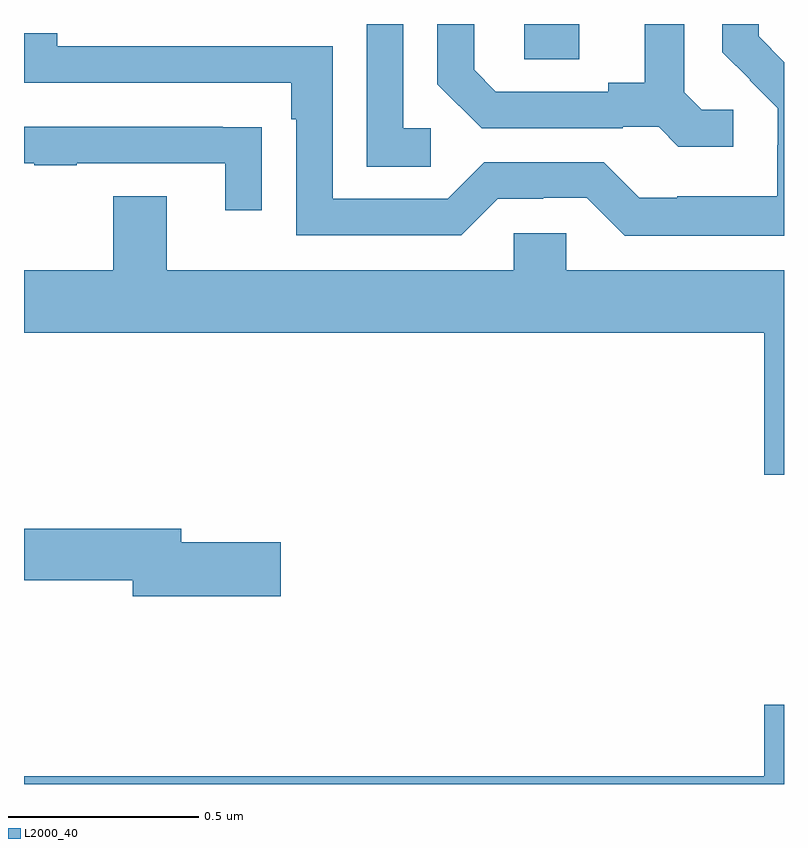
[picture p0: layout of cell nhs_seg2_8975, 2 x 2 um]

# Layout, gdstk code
import gdstk
lib = gdstk.Library(unit=1e-6, precision=1e-09)
def R(c, l, rs):  # rectangles x0, y0, x1, y1
    for r in rs: c.add(gdstk.rectangle(r[:2], r[2:], *l))
def P(c, l, *ps):  # polygons
    for p in ps: c.add(gdstk.Polygon(p, *l))
L2000_40 = (2000, 40)

nhs_seg2_8975 = lib.new_cell('nhs_seg2_8975')
R(nhs_seg2_8975, L2000_40, [(224.316,629.707,224.461,629.8)])
P(nhs_seg2_8975, L2000_40, [(224.866,629.574),(224.784,629.574),(224.737,629.621),(224.737,629.8),(224.633,629.8),(224.633,629.645),(224.537,629.645),(224.537,629.622),(224.242,629.622),(224.185,629.679),(224.185,629.8),(224.088,629.8),(224.088,629.642),(224.204,629.526),(224.576,629.526),(224.576,629.529),(224.67,629.529),(224.722,629.477),(224.866,629.477)],
  [(225,629.7),(224.933,629.768),(224.933,629.8),(224.838,629.8),(224.838,629.726),(224.911,629.653),(224.91,629.652),(224.984,629.578),(224.984,629.481),(224.982,629.481),(224.982,629.347),(224.719,629.347),(224.719,629.343),(224.619,629.343),(224.526,629.436),(224.211,629.436),(224.115,629.34),(223.812,629.34),(223.812,629.742),(223.088,629.742),(223.088,629.776),(223,629.776),(223,629.646),(223.703,629.646),(223.703,629.549),(223.716,629.549),(223.716,629.244),(224.151,629.244),(224.247,629.34),(224.366,629.34),(224.366,629.343),(224.481,629.343),(224.581,629.243),(225,629.243)],
  [(224.071,629.526),(223.998,629.526),(223.998,629.8),(223.902,629.8),(223.902,629.425),(224.071,629.425)],
  [(223.625,629.528),(223.523,629.528),(223.523,629.529),(223,629.529),(223,629.433),(223.027,629.433),(223.027,629.428),(223.139,629.428),(223.139,629.433),(223.529,629.433),(223.529,629.31),(223.625,629.31)],
  [(225,629.152),(224.427,629.152),(224.427,629.25),(224.289,629.25),(224.289,629.152),(223.375,629.152),(223.375,629.347),(223.235,629.347),(223.235,629.152),(223,629.152),(223,628.988),(224.948,628.988),(224.948,628.614),(225,628.614)],
  [(223.675,628.436),(223.414,628.436),(223.414,628.472),(223,628.472),(223,628.336),(223.286,628.336),(223.286,628.294),(223.675,628.294)],
  [(225,628.009),(224.948,628.009),(224.948,627.82),(223,627.82),(223,627.8),(225,627.8)])

lib.write_gds('nhs_seg2_8975.gds')
